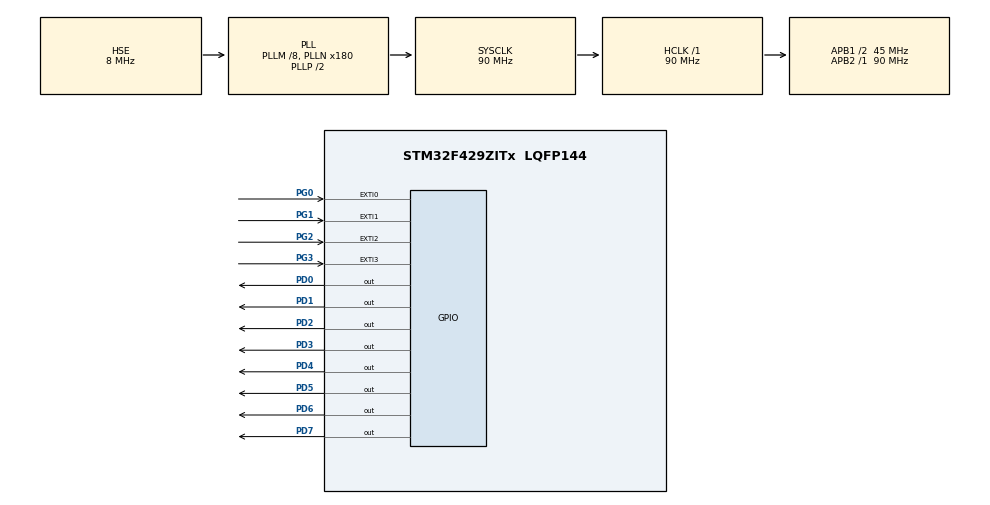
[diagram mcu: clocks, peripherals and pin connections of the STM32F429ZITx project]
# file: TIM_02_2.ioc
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Mcu.Family=STM32F4
Mcu.Name=STM32F429ZITx
Mcu.Package=LQFP144
NVIC.EXTI0_IRQn=true\:0\:0\:false\:false\:true\:true\:true\:true
NVIC.EXTI1_IRQn=true\:0\:0\:false\:false\:true\:true\:true\:true
NVIC.EXTI2_IRQn=true\:0\:0\:false\:false\:true\:true\:true\:true
NVIC.EXTI3_IRQn=true\:0\:0\:false\:false\:true\:true\:true\:true
NVIC.PriorityGroup=NVIC_PRIORITYGROUP_4
NVIC.TIM2_IRQn=true\:0\:0\:false\:false\:true\:true\:true\:true
PA13.Mode=Serial_Wire
PA13.Signal=SYS_JTMS-SWDIO
PA14.Mode=Serial_Wire
PA14.Signal=SYS_JTCK-SWCLK
PD0.GPIO_ModeDefaultOutputPP=GPIO_MODE_OUTPUT_PP
PD0.GPIO_PuPd=GPIO_PULLUP
PD0.GPIO_Speed=GPIO_SPEED_FREQ_HIGH
PD0.PinState=GPIO_PIN_RESET
PD0.Signal=GPIO_Output
PD1.GPIO_ModeDefaultOutputPP=GPIO_MODE_OUTPUT_PP
PD1.GPIO_PuPd=GPIO_PULLUP
PD1.GPIO_Speed=GPIO_SPEED_FREQ_HIGH
PD1.PinState=GPIO_PIN_RESET
PD1.Signal=GPIO_Output
PD2.GPIO_ModeDefaultOutputPP=GPIO_MODE_OUTPUT_PP
PD2.GPIO_PuPd=GPIO_PULLUP
PD2.GPIO_Speed=GPIO_SPEED_FREQ_HIGH
PD2.PinState=GPIO_PIN_RESET
PD2.Signal=GPIO_Output
PD3.GPIO_ModeDefaultOutputPP=GPIO_MODE_OUTPUT_PP
PD3.GPIO_PuPd=GPIO_PULLUP
PD3.GPIO_Speed=GPIO_SPEED_FREQ_HIGH
PD3.PinState=GPIO_PIN_RESET
PD3.Signal=GPIO_Output
PD4.GPIO_ModeDefaultOutputPP=GPIO_MODE_OUTPUT_PP
PD4.GPIO_PuPd=GPIO_PULLUP
PD4.GPIO_Speed=GPIO_SPEED_FREQ_HIGH
PD4.PinState=GPIO_PIN_RESET
PD4.Signal=GPIO_Output
PD5.GPIO_ModeDefaultOutputPP=GPIO_MODE_OUTPUT_PP
PD5.GPIO_PuPd=GPIO_PULLUP
PD5.GPIO_Speed=GPIO_SPEED_FREQ_HIGH
PD5.PinState=GPIO_PIN_RESET
PD5.Signal=GPIO_Output
PD6.GPIO_ModeDefaultOutputPP=GPIO_MODE_OUTPUT_PP
PD6.GPIO_PuPd=GPIO_PULLUP
PD6.GPIO_Speed=GPIO_SPEED_FREQ_HIGH
PD6.PinState=GPIO_PIN_RESET
PD6.Signal=GPIO_Output
PD7.GPIO_ModeDefaultOutputPP=GPIO_MODE_OUTPUT_PP
PD7.GPIO_PuPd=GPIO_PULLUP
PD7.GPIO_Speed=GPIO_SPEED_FREQ_HIGH
PD7.PinState=GPIO_PIN_RESET
PD7.Signal=GPIO_Output
PG0.GPIO_ModeDefaultEXTI=GPIO_MODE_IT_FALLING
PG0.GPIO_PuPd=GPIO_NOPULL
PG0.Signal=GPXTI0
PG1.GPIO_ModeDefaultEXTI=GPIO_MODE_IT_FALLING
PG1.GPIO_PuPd=GPIO_NOPULL
PG1.Signal=GPXTI1
PG2.GPIO_ModeDefaultEXTI=GPIO_MODE_IT_FALLING
PG2.GPIO_PuPd=GPIO_NOPULL
PG2.Signal=GPXTI2
PG3.GPIO_ModeDefaultEXTI=GPIO_MODE_IT_FALLING
PG3.GPIO_PuPd=GPIO_NOPULL
PG3.Signal=GPXTI3
PH0/OSC_IN.Mode=HSE-External-Clock-Source
PH0/OSC_IN.Signal=RCC_OSC_IN
PH1/OSC_OUT.Mode=HSE-External-Clock-Source
PH1/OSC_OUT.Signal=RCC_OSC_OUT
ProjectManager.HeapSize=0x200
ProjectManager.StackSize=0x400
ProjectManager.TargetToolchain=STM32CubeIDE
RCC.48MHZClocksFreq_Value=45000000
RCC.AHBFreq_Value=90000000
RCC.APB1CLKDivider=RCC_HCLK_DIV2
RCC.APB1Freq_Value=45000000
RCC.APB1TimFreq_Value=90000000
RCC.APB2Freq_Value=90000000
RCC.APB2TimFreq_Value=90000000
RCC.CortexFreq_Value=90000000
RCC.HCLKFreq_Value=90000000
RCC.HSE_VALUE=8000000
RCC.HSI_VALUE=16000000
RCC.LSE_VALUE=32768
RCC.PLLM=8
RCC.PLLN=180
RCC.PLLSourceVirtual=RCC_PLLSOURCE_HSE
RCC.SYSCLKFreq_VALUE=90000000
RCC.SYSCLKSource=RCC_SYSCLKSOURCE_PLLCLK
RCC.VCOOutputFreq_Value=180000000
TIM2.Period=9999
TIM2.Prescaler=8999
VP_TIM2_VS_ClockSourceINT.Mode=Internal
board=custom

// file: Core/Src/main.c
/* USER CODE BEGIN Header */
/**
  ******************************************************************************
  * @file           : main.c
  * @brief          : Main program body
  ******************************************************************************
  * @attention
  *
  * Copyright (c) 2022 STMicroelectronics.
  * All rights reserved.
  *
  * This software is licensed under terms that can be found in the LICENSE file
  * in the root directory of this software component.
  * If no LICENSE file comes with this software, it is provided AS-IS.
  *
  ******************************************************************************
  */
/* USER CODE END Header */
#include "main.h"

TIM_HandleTypeDef htim2;

void SystemClock_Config(void);
static void MX_GPIO_Init(void);
static void MX_TIM2_Init(void);
/* USER CODE BEGIN PFP */
void LED_OnOff(int, int);
int speed = 0;
int count = 0;
int control = 0;
/* USER CODE END PFP */

int main(void)
{
  /* USER CODE BEGIN 1 */
   uint16_t led = 0x01;
  /* USER CODE END 1 */

  /* MCU Configuration--------------------------------------------------------*/

  /* Reset of all peripherals, Initializes the Flash interface and the Systick. */
  HAL_Init();

  /* Configure the system clock */
  SystemClock_Config();

  /* Initialize all configured peripherals */
  MX_GPIO_Init();
  MX_TIM2_Init();
  /* USER CODE BEGIN 2 */
  LED_OnOff(LED_ALL, 500);
  HAL_TIM_Base_Start_IT(&htim2);
  HAL_TIM_OC_Start_IT(&htim2, TIM_CHANNEL_1);
  /* USER CODE END 2 */

  /* Infinite loop */
  /* USER CODE BEGIN WHILE */
  while (1)
  {
       led<<=1;
        if(led>0x80){
        	led=0x01;
        	count ++;
        }

        if(speed * count >=1){
        	control ++;
        	count --;
        }
        LED_OnOff(led, 500/control);
    }
    /* USER CODE END WHILE */

}

void SystemClock_Config(void)
{
  RCC_OscInitTypeDef RCC_OscInitStruct = {0};
  RCC_ClkInitTypeDef RCC_ClkInitStruct = {0};

  /** Configure the main internal regulator output voltage
  */
  __HAL_RCC_PWR_CLK_ENABLE();
  __HAL_PWR_VOLTAGESCALING_CONFIG(PWR_REGULATOR_VOLTAGE_SCALE3);

  /** Initializes the RCC Oscillators according to the specified parameters
  * in the RCC_OscInitTypeDef structure.
  */
  RCC_OscInitStruct.OscillatorType = RCC_OSCILLATORTYPE_HSE;
  RCC_OscInitStruct.HSEState = RCC_HSE_BYPASS;
  RCC_OscInitStruct.PLL.PLLState = RCC_PLL_ON;
  RCC_OscInitStruct.PLL.PLLSource = RCC_PLLSOURCE_HSE;
  RCC_OscInitStruct.PLL.PLLM = 8;
  RCC_OscInitStruct.PLL.PLLN = 180;
  RCC_OscInitStruct.PLL.PLLP = RCC_PLLP_DIV2;
  RCC_OscInitStruct.PLL.PLLQ = 4;
  if (HAL_RCC_OscConfig(&RCC_OscInitStruct) != HAL_OK)
  {
    Error_Handler();
  }

  /** Activate the Over-Drive mode
  */
  if (HAL_PWREx_EnableOverDrive() != HAL_OK)
  {
    Error_Handler();
  }

  /** Initializes the CPU, AHB and APB buses clocks
  */
  RCC_ClkInitStruct.ClockType = RCC_CLOCKTYPE_HCLK|RCC_CLOCKTYPE_SYSCLK
                              |RCC_CLOCKTYPE_PCLK1|RCC_CLOCKTYPE_PCLK2;
  RCC_ClkInitStruct.SYSCLKSource = RCC_SYSCLKSOURCE_PLLCLK;
  RCC_ClkInitStruct.AHBCLKDivider = RCC_SYSCLK_DIV1;
  RCC_ClkInitStruct.APB1CLKDivider = RCC_HCLK_DIV2;
  RCC_ClkInitStruct.APB2CLKDivider = RCC_HCLK_DIV1;

  if (HAL_RCC_ClockConfig(&RCC_ClkInitStruct, FLASH_LATENCY_2) != HAL_OK)
  {
    Error_Handler();
  }
}

static void MX_TIM2_Init(void)
{

  TIM_ClockConfigTypeDef sClockSourceConfig = {0};
  TIM_MasterConfigTypeDef sMasterConfig = {0};

  htim2.Instance = TIM2;
  htim2.Init.Prescaler = 8999;
  htim2.Init.CounterMode = TIM_COUNTERMODE_UP;
  htim2.Init.Period = 9999;
  htim2.Init.ClockDivision = TIM_CLOCKDIVISION_DIV1;
  htim2.Init.AutoReloadPreload = TIM_AUTORELOAD_PRELOAD_DISABLE;
  if (HAL_TIM_Base_Init(&htim2) != HAL_OK)
  {
    Error_Handler();
  }
  sClockSourceConfig.ClockSource = TIM_CLOCKSOURCE_INTERNAL;
  if (HAL_TIM_ConfigClockSource(&htim2, &sClockSourceConfig) != HAL_OK)
  {
    Error_Handler();
  }
  sMasterConfig.MasterOutputTrigger = TIM_TRGO_RESET;
  sMasterConfig.MasterSlaveMode = TIM_MASTERSLAVEMODE_DISABLE;
  if (HAL_TIMEx_MasterConfigSynchronization(&htim2, &sMasterConfig) != HAL_OK)
  {
    Error_Handler();
  }

}

static void MX_GPIO_Init(void)
{
  GPIO_InitTypeDef GPIO_InitStruct = {0};

  /* GPIO Ports Clock Enable */
  __HAL_RCC_GPIOH_CLK_ENABLE();
  __HAL_RCC_GPIOG_CLK_ENABLE();
  __HAL_RCC_GPIOA_CLK_ENABLE();
  __HAL_RCC_GPIOD_CLK_ENABLE();

  /*Configure GPIO pin Output Level */
  HAL_GPIO_WritePin(GPIOD, GPIO_PIN_0|GPIO_PIN_1|GPIO_PIN_2|GPIO_PIN_3
                          |GPIO_PIN_4|GPIO_PIN_5|GPIO_PIN_6|GPIO_PIN_7, GPIO_PIN_RESET);

  /*Configure GPIO pins : PG0 PG1 PG2 PG3 */
  GPIO_InitStruct.Pin = GPIO_PIN_0|GPIO_PIN_1|GPIO_PIN_2|GPIO_PIN_3;
  GPIO_InitStruct.Mode = GPIO_MODE_IT_FALLING;
  GPIO_InitStruct.Pull = GPIO_NOPULL;
  HAL_GPIO_Init(GPIOG, &GPIO_InitStruct);

  /*Configure GPIO pins : PD0 PD1 PD2 PD3
                           PD4 PD5 PD6 PD7 */
  GPIO_InitStruct.Pin = GPIO_PIN_0|GPIO_PIN_1|GPIO_PIN_2|GPIO_PIN_3
                          |GPIO_PIN_4|GPIO_PIN_5|GPIO_PIN_6|GPIO_PIN_7;
  GPIO_InitStruct.Mode = GPIO_MODE_OUTPUT_PP;
  GPIO_InitStruct.Pull = GPIO_PULLUP;
  GPIO_InitStruct.Speed = GPIO_SPEED_FREQ_HIGH;
  HAL_GPIO_Init(GPIOD, &GPIO_InitStruct);

  /* EXTI interrupt init*/
  HAL_NVIC_SetPriority(EXTI0_IRQn, 0, 0);
  HAL_NVIC_EnableIRQ(EXTI0_IRQn);

  HAL_NVIC_SetPriority(EXTI1_IRQn, 0, 0);
  HAL_NVIC_EnableIRQ(EXTI1_IRQn);

  HAL_NVIC_SetPriority(EXTI2_IRQn, 0, 0);
  HAL_NVIC_EnableIRQ(EXTI2_IRQn);

  HAL_NVIC_SetPriority(EXTI3_IRQn, 0, 0);
  HAL_NVIC_EnableIRQ(EXTI3_IRQn);

}

/* USER CODE BEGIN 4 */
void LED_OnOff(int led, int interval){
   HAL_GPIO_WritePin(GPIO_LED, led, GPIO_PIN_SET);
   HAL_GPIO_WritePin(GPIO_LED_Nucleo, led, GPIO_PIN_SET);

   HAL_Delay(interval);

   HAL_GPIO_WritePin(GPIO_LED, led, GPIO_PIN_RESET);
   HAL_GPIO_WritePin(GPIO_LED_Nucleo, led, GPIO_PIN_RESET);
}
void HAL_TIM_PeriodElapsedCallback(TIM_HandleTypeDef *htim)
{
   if (htim -> Instance == TIM2) {
      speed ++;
   }
}

/* USER CODE END 4 */

void Error_Handler(void)
{
  __disable_irq();
  while (1)
  {
  }
}
